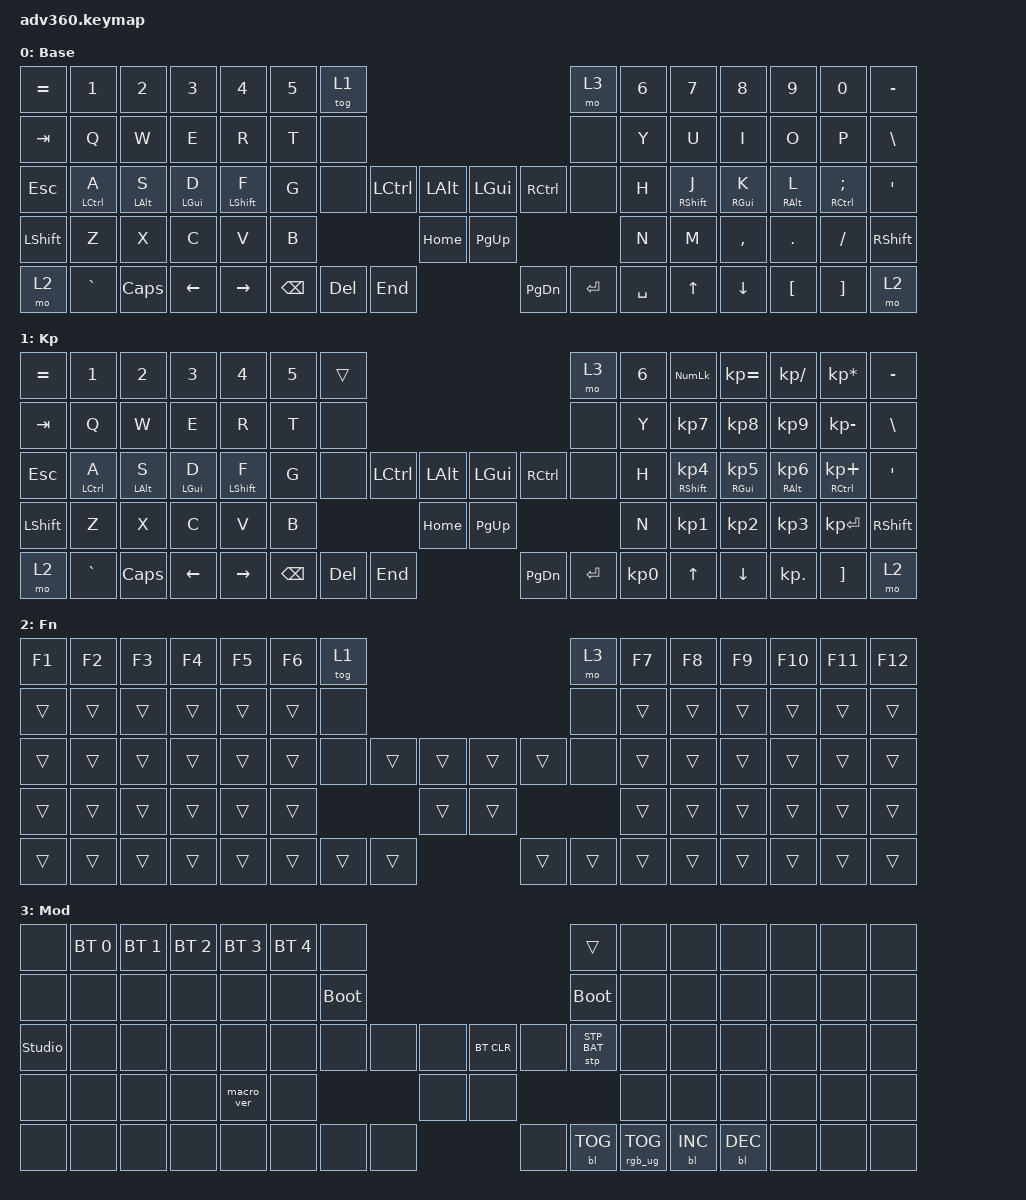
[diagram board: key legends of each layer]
#include <behaviors.dtsi>
#include <dt-bindings/zmk/keys.h>
#include <dt-bindings/zmk/bt.h>
#include <dt-bindings/zmk/rgb.h>
#include <dt-bindings/zmk/stp.h>
#include <dt-bindings/zmk/backlight.h>
#include <dt-bindings/zmk/pointing.h>

#define HRM_TAPPING_TERM_MS 280
#define HRM_QUICK_TAP_MS 175
#define HRM_REQUIRE_PRIOR_IDLE_MS 150

/ {
    behaviors {
      #include "macros.dtsi"
      #include "version.dtsi"

      hml: homerow_mods_left {
          compatible = "zmk,behavior-hold-tap";
          display-name = "Home Row Mod Left";
          #binding-cells = <2>;
          flavor = "balanced";
          tapping-term-ms = <HRM_TAPPING_TERM_MS>;
          quick-tap-ms = <HRM_QUICK_TAP_MS>;
          require-prior-idle-ms = <HRM_REQUIRE_PRIOR_IDLE_MS>;
          bindings = <&kp>, <&kp>;
          hold-trigger-on-release;
      };

      hmr: homerow_mods_right {
          compatible = "zmk,behavior-hold-tap";
          display-name = "Home Row Mod Right";
          #binding-cells = <2>;
          flavor = "balanced";
          tapping-term-ms = <HRM_TAPPING_TERM_MS>;
          quick-tap-ms = <HRM_QUICK_TAP_MS>;
          require-prior-idle-ms = <HRM_REQUIRE_PRIOR_IDLE_MS>;
          bindings = <&kp>, <&kp>;
          hold-trigger-on-release;
      };
    };

  keymap {
    compatible = "zmk,keymap";

    default_layer {
      display-name = "Base";
      bindings = <
        &kp EQUAL &kp N1    &kp N2   &kp N3   &kp N4     &kp N5 &tog 1                                                           &mo 3 &kp N6 &kp N7 &kp N8    &kp N9   &kp N0   &kp MINUS
        &kp TAB   &kp Q     &kp W    &kp E    &kp R      &kp T  &none                                                            &none &kp Y  &kp U  &kp I     &kp O    &kp P    &kp BSLH
        &kp ESC   &hml LCTRL A &hml LALT S &hml LGUI D &hml LSHFT F &kp G  &none           &kp LCTRL &kp LALT &kp LGUI  &kp RCTRL           &none &kp H  &hmr RSHFT J &hmr RGUI K &hmr RALT L &hmr RCTRL SEMI &kp SQT
        &kp LSHFT &kp Z     &kp X    &kp C    &kp V      &kp B                            &kp HOME &kp PG_UP                           &kp N  &kp M  &kp COMMA &kp DOT  &kp FSLH &kp RSHFT
        &mo 2     &kp GRAVE &kp CAPS &kp LEFT &kp RIGHT                &kp BSPC &kp DEL   &kp END  &kp PG_DN &kp ENTER &kp SPACE              &kp UP &kp DOWN  &kp LBKT &kp RBKT &mo 2
      >;
    };
    keypad {
      display-name = "Kp";
      bindings = <
        &kp EQUAL &kp N1    &kp N2   &kp N3   &kp N4     &kp N5 &trans                                                           &mo 3 &kp N6 &kp KP_NUM &kp KP_EQUAL &kp KP_DIVIDE &kp KP_MULTIPLY &kp MINUS
        &kp TAB   &kp Q     &kp W    &kp E    &kp R      &kp T  &none                                                            &none &kp Y  &kp KP_N7  &kp KP_N8    &kp KP_N9     &kp KP_MINUS    &kp BSLH
        &kp ESC   &hml LCTRL A &hml LALT S &hml LGUI D &hml LSHFT F &kp G  &none           &kp LCTRL &kp LALT &kp LGUI  &kp RCTRL           &none &kp H  &hmr RSHFT KP_N4  &hmr RGUI KP_N5    &hmr RALT KP_N6     &hmr RCTRL KP_PLUS     &kp SQT
        &kp LSHFT &kp Z     &kp X    &kp C    &kp V      &kp B                            &kp HOME &kp PG_UP                           &kp N  &kp KP_N1  &kp KP_N2    &kp KP_N3     &kp KP_ENTER    &kp RSHFT
        &mo 2     &kp GRAVE &kp CAPS &kp LEFT &kp RIGHT                &kp BSPC &kp DEL   &kp END  &kp PG_DN &kp ENTER &kp KP_N0              &kp UP     &kp DOWN     &kp KP_DOT    &kp RBKT        &mo 2
      >;
    };
    fn {
      display-name = "Fn";
      bindings = <
        &kp F1 &kp F2 &kp F3 &kp F4 &kp F5 &kp F6 &tog 1                                           &mo 3 &kp F7 &kp F8 &kp F9 &kp F10 &kp F11 &kp F12
        &trans &trans &trans &trans &trans &trans  &none                                           &none &trans &trans &trans &trans  &trans  &trans
        &trans &trans &trans &trans &trans &trans  &none        &trans &trans &trans &trans        &none &trans &trans &trans &trans  &trans  &trans
        &trans &trans &trans &trans &trans &trans                      &trans &trans                     &trans &trans &trans &trans  &trans  &trans
        &trans &trans &trans &trans &trans               &trans &trans &trans &trans &trans &trans              &trans &trans &trans  &trans  &trans
      >;
    };
    mod {
      display-name = "Mod";
      bindings = <
        &none &bt BT_SEL 0 &bt BT_SEL 1 &bt BT_SEL 2 &bt BT_SEL 3 &bt BT_SEL 4 &none                                                                     &trans                 &none        &none        &none        &none &none &none
        &none &none        &none        &none        &none        &none        &bootloader                                                               &bootloader            &none        &none        &none        &none &none &none
        &studio_unlock &none        &none        &none        &none        &none        &none                   &none &none &bt BT_CLR &none                      &stp STP_BAT &none        &none        &none        &none &none &none
        &none &none        &none        &none        &macro_ver   &none                                      &none &none                                                        &none        &none        &none        &none &none &none
        &none &none        &none        &none        &none                                       &none &none &none &none      &bl BL_TOG &rgb_ug RGB_TOG                                     &bl BL_INC   &bl BL_DEC   &none &none &none
      >;
    };
    extra1 { 
      display-name = "Red";    
      status = "reserved";
    };

    extra2 { 
      display-name = "Purple";    
      status = "reserved";
    };

    extra3 { 
      display-name = "Cyan";    
      status = "reserved";
    };

    extra4 { 
      display-name = "Yellow";    
      status = "reserved";
    };
  };
};
